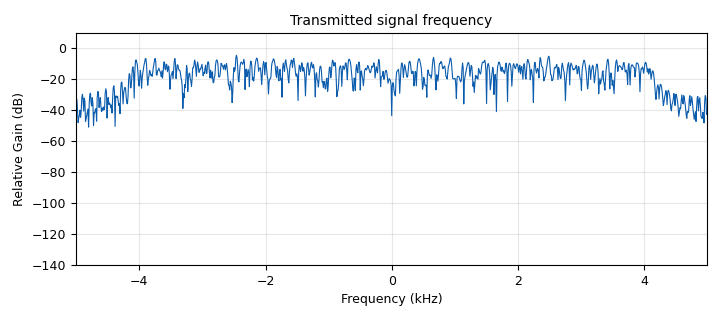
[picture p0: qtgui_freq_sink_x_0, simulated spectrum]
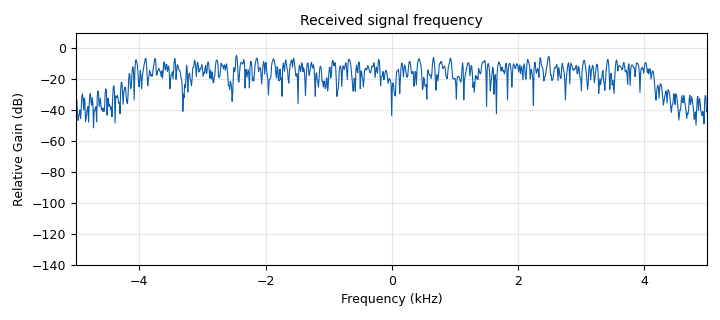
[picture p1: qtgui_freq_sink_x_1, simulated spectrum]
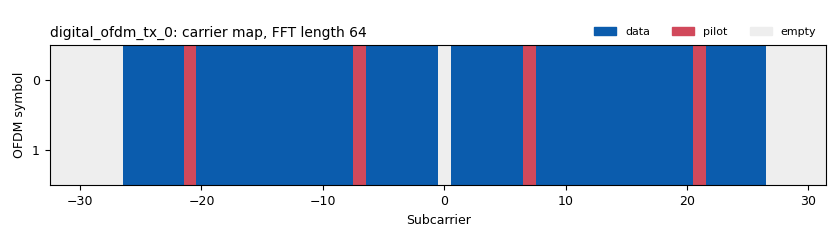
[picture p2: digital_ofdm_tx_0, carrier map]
options:
  parameters:
    generate_options: qt_gui
    id: ofdm_test
    output_language: python
    title: OFDM Test
  states: {}

blocks:
- name: fft_len
  id: variable
  parameters:
    value: '64'
  states: {}
- name: noise
  id: variable_qtgui_range
  parameters:
    label: Noise [dB]
    start: '0.0'
    step: '0.01'
    stop: '0.2'
    value: '0.1'
  states: {}
- name: occupied_carriers
  id: variable
  parameters:
    value: (list(range(-26, -21)) + list(range(-20, -7)) + list(range(-6, 0)) + list(range(1, 7)) + list(range(8, 21)) + list(range(22, 27)),)
  states: {}
- name: packet_len
  id: variable
  parameters:
    value: '96'
  states: {}
- name: packet_length_tag_key
  id: variable
  parameters:
    value: '"packet_len"'
  states: {}
- name: pilot_carriers
  id: variable
  parameters:
    value: ((-21, -7, 7, 21,),)
  states: {}
- name: pilot_symbols
  id: variable
  parameters:
    value: ((1, 1, 1, -1,),)
  states: {}
- name: samp_rate
  id: variable
  parameters:
    value: '10000'
  states: {}
- name: sync_word_1
  id: variable
  parameters:
    value: '[0j, 0j, 0j, 0j, 0j, 0j, 0j, (1.41421356 + 0j), 0j, (-1.41421356 + 0j), 0j, (1.41421356 + 0j), 0j, (-1.41421356 + 0j), 0j, (-1.41421356 + 0j), 0j, (-1.41421356 + 0j), 0j, (1.41421356 + 0j), 0j, (-1.41421356 + 0j), 0j, (1.41421356 + 0j), 0j, (-1.41421356 + 0j), 0j, (-1.41421356 + 0j), 0j, (-1.41421356 + 0j), 0j, (-1.41421356 + 0j), 0j, (1.41421356 + 0j), 0j, (-1.41421356 + 0j), 0j, (1.41421356 + 0j), 0j, (1.41421356 + 0j), 0j, (1.41421356 + 0j), 0j, (-1.41421356 + 0j), 0j, (1.41421356 + 0j), 0j, (1.41421356 + 0j), 0j, (1.41421356 + 0j), 0j, (-1.41421356 + 0j), 0j, (1.41421356 + 0j), 0j, (1.41421356 + 0j), 0j, (1.41421356 + 0j), 0j, 0j, 0j, 0j, 0j, 0j]'
  states: {}
- name: sync_word_2
  id: variable
  parameters:
    value: '[0j, 0j, 0j, 0j, 0j, 0j, (-1+0j), (-1+0j), (-1+0j), (-1+0j), (1+0j), (1+0j), (-1+0j), (-1+0j), (-1+0j), (1+0j), (-1+0j), (1+0j), (1+0j), (1 +0j), (1+0j), (1+0j), (-1+0j), (-1+0j), (-1+0j), (-1+0j), (-1+0j), (1+0j), (-1+0j), (-1+0j), (1+0j), (-1+0j), 0j, (1+0j), (-1+0j), (1+0j), (1+0j), (1+0j), (-1+0j), (1+0j), (1+0j), (1+0j), (-1+0j), (1+0j), (1+0j), (1+0j), (1+0j), (-1+0j), (1+0j), (-1+0j), (-1+0j), (-1+0j), (1+0j), (-1+0j), (1+0j), (-1+0j), (-1+0j), (-1+0j), (-1+0j), 0j, 0j, 0j, 0j, 0j]'
  states: {}
- name: analog_random_source_x_0
  id: analog_random_source_x
  parameters:
    max: '255'
    min: '0'
    num_samps: '1000'
    repeat: 'True'
    type: byte
  states: {}
- name: blocks_stream_to_tagged_stream_0
  id: blocks_stream_to_tagged_stream
  parameters:
    len_tag_key: '"packet_len"'
    packet_len: packet_len
    type: byte
  states: {}
- name: blocks_tag_debug_0
  id: blocks_tag_debug
  parameters:
    name: Received bytes
    type: byte
  states: {}
- name: blocks_throttle2_0_0
  id: blocks_throttle2
  parameters:
    samples_per_second: samp_rate
    type: complex
  states: {}
- name: channels_channel_model_0
  id: channels_channel_model
  parameters:
    block_tags: 'True'
    epsilon: '1.0'
    freq_offset: 0 * fft_len // 4
    noise_voltage: noise
    seed: '0'
    taps: '1.0'
  states: {}
- name: digital_ofdm_rx_0
  id: digital_ofdm_rx
  parameters:
    cp_len: fft_len // 4
    fft_len: fft_len
    header_mod: '"BPSK"'
    occupied_carriers: occupied_carriers
    packet_len_key: '"length"'
    payload_mod: '"QPSK"'
    pilot_carriers: pilot_carriers
    pilot_symbols: pilot_symbols
    sync_word1: sync_word_1
    sync_word2: sync_word_2
  states: {}
- name: digital_ofdm_tx_0
  id: digital_ofdm_tx
  parameters:
    cp_len: '16'
    fft_len: '64'
    header_mod: '"BPSK"'
    log: 'True'
    occupied_carriers: occupied_carriers
    packet_len_key: packet_length_tag_key
    payload_mod: '"QPSK"'
    pilot_carriers: pilot_carriers
    pilot_symbols: pilot_symbols
    rolloff: '0'
    sync_word1: sync_word_1
    sync_word2: sync_word_2
  states: {}
- name: note_0
  id: note
  parameters:
    note: Transmitter
  states: {}
- name: note_1
  id: note
  parameters:
    note: Channel
  states: {}
- name: note_2
  id: note
  parameters:
    note: Receiver
  states: {}
- name: qtgui_freq_sink_x_0
  id: qtgui_freq_sink_x
  parameters:
    bw: samp_rate
    fc: '0'
    fftsize: '1024'
    name: '"Transmitted signal frequency"'
    type: complex
  states: {}
- name: qtgui_freq_sink_x_1
  id: qtgui_freq_sink_x
  parameters:
    bw: samp_rate
    fc: '0'
    fftsize: '1024'
    name: '"Received signal frequency"'
    type: complex
  states: {}
- name: uhd_usrp_sink_0
  id: uhd_usrp_sink
  parameters:
    ant0: '"TX/RX"'
    center_freq0: '0'
    gain0: '0'
    samp_rate: samp_rate
    sync: sync
    type: fc32
  states: {state: disabled}
- name: uhd_usrp_source_0
  id: uhd_usrp_source
  parameters:
    ant0: '"RX2"'
    center_freq0: '0'
    gain0: '0'
    samp_rate: samp_rate
    sync: sync
    type: fc32
  states: {state: disabled}
- name: virtual_sink_0
  id: virtual_sink
  parameters:
    stream_id: transmitted
  states: {}
- name: virtual_sink_1
  id: virtual_sink
  parameters:
    stream_id: received
  states: {}
- name: virtual_source_0
  id: virtual_source
  parameters:
    stream_id: transmitted
  states: {}
- name: virtual_source_1
  id: virtual_source
  parameters:
    stream_id: received
  states: {}

connections:
- [analog_random_source_x_0, '0', blocks_stream_to_tagged_stream_0, '0']
- [blocks_stream_to_tagged_stream_0, '0', digital_ofdm_tx_0, '0']
- [blocks_throttle2_0_0, '0', channels_channel_model_0, '0']
- [blocks_throttle2_0_0, '0', qtgui_freq_sink_x_0, '0']
- [channels_channel_model_0, '0', qtgui_freq_sink_x_1, '0']
- [channels_channel_model_0, '0', virtual_sink_1, '0']
- [digital_ofdm_rx_0, '0', blocks_tag_debug_0, '0']
- [digital_ofdm_tx_0, '0', uhd_usrp_sink_0, '0']
- [digital_ofdm_tx_0, '0', virtual_sink_0, '0']
- [uhd_usrp_source_0, '0', digital_ofdm_rx_0, '0']
- [virtual_source_0, '0', blocks_throttle2_0_0, '0']
- [virtual_source_1, '0', digital_ofdm_rx_0, '0']

metadata:
  file_format: 1
  grc_version: 3.10.7.0
